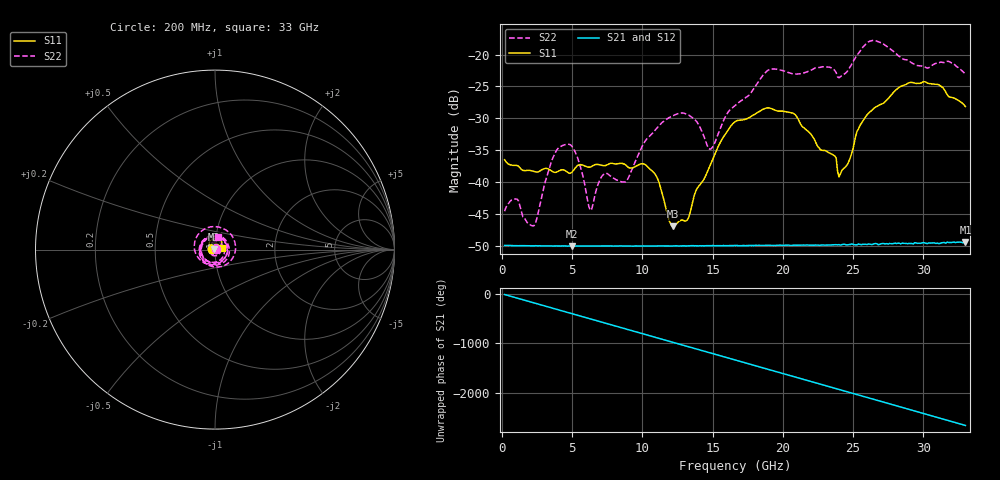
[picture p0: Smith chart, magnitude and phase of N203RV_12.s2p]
# GHZ S RI R 50
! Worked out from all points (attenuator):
!   329 points, 200 MHz to 33 GHz, reference 50 ohm
!   highest |S21| = -49.43 dB at 33 GHz (marker M1); lowest = -50.1 dB at 5 GHz (marker M2)
!   lowest |S11| = -47.0 dB at 12.2 GHz (marker M3), VSWR 1.01, Z = 49.6 + j0.18 ohm
!   |S11| at or under -10 dB: start of sweep to end of sweep
!   |S22| runs from -46.9 to -17.8 dB; largest |S21 - S12| = 7.2e-05
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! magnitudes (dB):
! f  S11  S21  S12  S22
! 200 MHz  -36.5  -50.0  -49.9  -44.6
! 1.1 GHz  -37.4  -50.0  -50.0  -42.7
! 2.3 GHz  -38.3  -50.0  -50.0  -46.9
! 3.8 GHz  -38.5  -50.1  -50.0  -35.4
! 5 GHz  -38.5  -50.1  -50.1  -34.4
! 5.7 GHz  -37.3  -50.0  -50.0  -38.4
! 6.3 GHz  -37.7  -50.1  -50.0  -44.4
! 7.2 GHz  -37.4  -50.1  -50.0  -38.9
! 8.8 GHz  -37.3  -50.1  -50.0  -40.0
! 11.2 GHz  -40.1  -50.0  -50.0  -31.1
! 12.2 GHz  -47.0  -50.0  -50.0  -29.6
! 13.2 GHz  -46.0  -50.0  -50.0  -29.4
! 14.8 GHz  -37.6  -50.0  -50.0  -34.9
! 16.6 GHz  -30.6  -50.0  -50.0  -28.0
! 19 GHz  -28.4  -49.9  -49.9  -22.4
! 22.1 GHz  -32.8  -49.9  -49.9  -22.4
! 23.8 GHz  -36.2  -49.8  -49.8  -22.8
! 24 GHz  -39.2  -49.8  -49.9  -23.6
! 26.1 GHz  -29.2  -49.7  -49.7  -18.0
! 27.6 GHz  -26.6  -49.7  -49.7  -19.0
! 30.1 GHz  -24.3  -49.6  -49.6  -21.9
! 33 GHz  -28.1  -49.4  -49.4  -23.1
